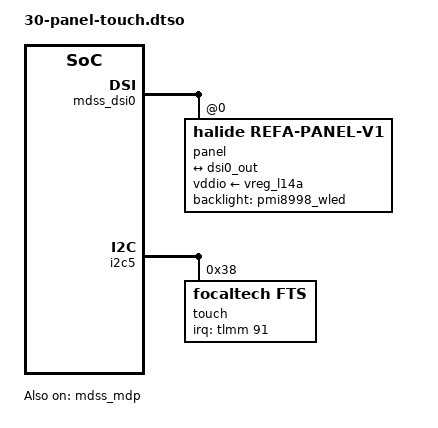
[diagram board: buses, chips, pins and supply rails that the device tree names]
/dts-v1/; /plugin/;
/* 30-panel-touch.dtsi — REF-A DSI panel + WLED + touch (appendix-03A §4 sequence).
 * SRC: stock-dump (DSI timings, panel compatible) + datasheet panel p12 (backlight PWM period).
 * Bring-up order: 1) WLED-only 2) simple-panel 3) full driver 4) touch IRQ 5) 20-cycle suspend.
 * Touch: FocalTech FT8719, I2C addr 0x38, IRQ gpio, fw touch_fw.bin v12 (appendix-03A §5).
 */
/ {
	fragment@0 {
		target = <&mdss_mdp>;
		__overlay__ {
			status = "okay"; /* SRC: stock-dump */
		};
	};
	fragment@1 {
		target = <&mdss_dsi0>;
		__overlay__ {
			status = "okay"; /* SRC: stock-dump */
			panel@0 {
				compatible = "halide,refa-panel-v1"; /* SRC: stock-dump — NT36672 timings from stock DT */
				reg = <0>;
				vddio-supply = <&vreg_l14a>; /* SRC: stock-dump — panel IO rail */
				backlight = <&pmi8998_wled>; /* SRC: datasheet-p12 — PWM period + max brightness */
				port {
					panel_in: endpoint {
						remote-endpoint = <&dsi0_out>;
					};
				};
			};
		};
	};
	fragment@2 {
		target = <&i2c5>;
		__overlay__ {
			status = "okay"; /* SRC: stock-dump */
			touch@38 {
				compatible = "focaltech,fts"; /* SRC: stock-dump — FT8719 */
				reg = <0x38>;
				interrupt-parent = <&tlmm>;
				interrupts = <91 0x2>;
				touchscreen-size-x = <1080>; /* SRC: measured-20260502 — evtest 10-finger slots verified */
				touchscreen-size-y = <2280>; /* SRC: measured-20260502 */
				focaltech,firmware-name = "touch_fw.bin"; /* SRC: stock-dump v12 */
				pinctrl-names = "default", "sleep";
				pinctrl-0 = <&i2c5_default>;
				pinctrl-1 = <&i2c5_sleep>;
			};
		};
	};
};
